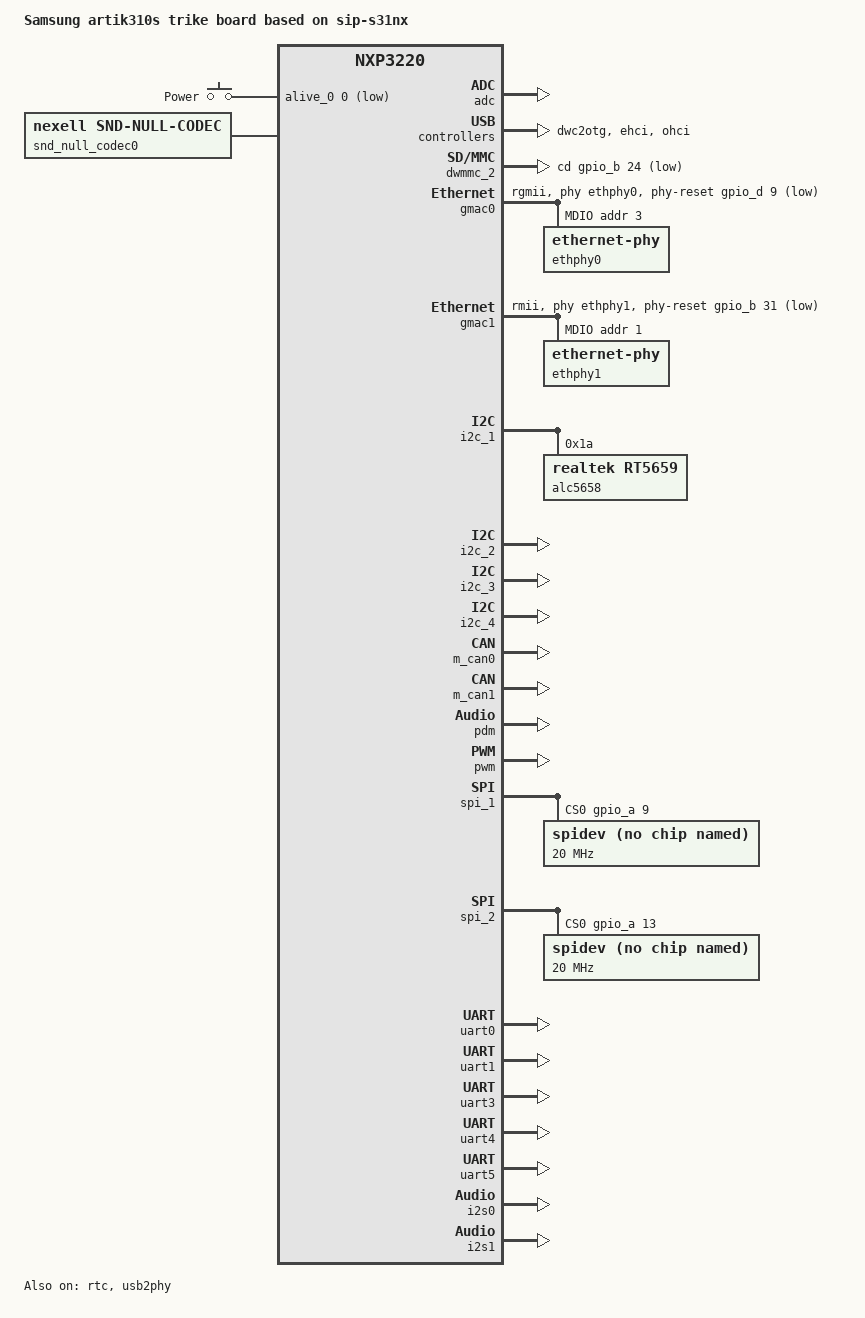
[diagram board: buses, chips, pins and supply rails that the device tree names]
// SPDX-License-Identifier: (GPL-2.0+ OR MIT)
/*
 * Copyright (C) 2018  Nexell Co., Ltd.
 * Author: JungHyun, Kim <jhkim@nexell.co.kr>
 */

#include <dt-bindings/gpio/gpio.h>
#include <dt-bindings/input/input.h>
#include "sip-s31nx-artik310s.dtsi"

/ {
	model = "Samsung artik310s trike board based on sip-s31nx";
	compatible = "samsung,artik310s-trike", "samsung,artik310s",
		   "nexell,nxp3220";

	chosen {
		stdout-path = &uart0;
	};

	gpio_keys {
		compatible = "gpio-keys";
		#address-cells = <1>;
		#size-cells = <0>;
		pinctrl-names = "default";
		pinctrl-0 = <&key_pwr>;

		power {
			label = "Power";
			gpios = <&alive_0 0 GPIO_ACTIVE_LOW>;
			linux,code = <KEY_POWER>;
			wakeup-source;
		};
	};

	/* Null codec for PDM reference i2s */
	snd_null_codec0: snd_null_codec@0 {
		#sound-dai-cells = <0>;
		compatible = "nexell,snd-null-codec";
		status = "okay";
	};

	sound0: sound@0 {
		compatible = "simple-audio-card";
		simple-audio-card,name = "Artik310 Audio Card ALC5658";
		simple-audio-card,widgets =
			"Headphone", "Out Jack",
			"Microphone", "In Jack";
		simple-audio-card,routing =
			"IN1P", "MICBIAS1",
			"IN1P", "In Jack";
		status = "okay";

		simple-audio-card,dai-link@0 {
			mclk-fs = <256>;
			format = "i2s";
			frame-master = <&sndcpu0>;
			bitclock-master = <&sndcpu0>;

			sndcpu0: cpu  {
				sound-dai = <&i2s1 0>;
			};

			sndcodec0: codec {
				sound-dai = <&alc5658 0>;
			};
		};
	};

	sound1: sound@1 {
		compatible = "simple-audio-card";
		simple-audio-card,name = "Artik310 PDM Card";
		status = "okay";

		simple-audio-card,dai-link@0 {
			mclk-fs = <256>;
			format = "i2s";
			frame-master = <&sndcodec1>;
			bitclock-master = <&sndcodec1>;

			sndcpu1: cpu {
				 sound-dai = <&i2s0 0>;
			};

			sndcodec1: codec {
				sound-dai = <&snd_null_codec0>;
			};
		};
	};

	sound-pdm {
		compatible = "nexell,nxp3220-pdm-card";
		snd-controller = <&pdm>;
	};

};

&adc {
	status = "okay";
};

&dwc2otg {
	status = "okay";
};

&dwmmc_2 {
	cap-sd-highspeed;
	cd-gpios = <&gpio_b 24 0>;
	cd-inverted;
	clock-frequency = <200000000>;
	nexell,drive_shift = <0x01>;
	nexell,sample_shift = <0x00>;
	card-detect-delay = <200>;
	disable-wp;
	status = "okay";
};

&ehci {
	status = "okay";
};

&gmac0 {
	status = "okay";

	pinctrl-names = "default";
	pinctrl-0 = <&gmac0_pins>;
	phy-mode = "rgmii";
	phy-handle = <&ethphy0>;

	phy-reset-gpios = <&gpio_d 9 GPIO_ACTIVE_LOW>;
	phy-intr-gpios = <&alive_0 5 GPIO_ACTIVE_LOW>;
	phy-pme-gpios = <&alive_0 2 GPIO_ACTIVE_LOW>;

	mdio@3 {
		#address-cells = <1>;
		#size-cells = <0>;

		ethphy0: ethernet-phy@3 {
			reg = <3>;
		};
	};
};

&gmac0_phyint {
	nexell,pins = "alive-5";
};

&gmac0_pme {
	nexell,pins = "alive-2";
};

&gmac1 {
	status = "okay";

	pinctrl-names = "default";
	pinctrl-0 = <&gmac1_pins>;
	phy-mode = "rmii";
	phy-handle = <&ethphy1>;
	phy-reset-gpios = <&gpio_b 31 GPIO_ACTIVE_LOW>;
	phy-intr-gpios = <&alive_0 7 GPIO_ACTIVE_LOW>;
	phy-pme-gpios = <&alive_0 6 GPIO_ACTIVE_LOW>;

	mdio@1 {
		#address-cells = <1>;
		#size-cells = <0>;

		ethphy1: ethernet-phy@1 {
			reg = <1>;
		};
	};
};

&i2c_1 {
	status = "okay";
	#address-cells = <1>;
	#size-cells = <0>;

	alc5658: alc5658@1a {
		#sound-dai-cells = <1>;
		compatible = "realtek,rt5659";
		reg = <0x1a>;
		realtek,dmic1-data-pin = <2>;
	};
};

&i2c_2 {
	status = "okay";
	#address-cells = <1>;
	#size-cells = <0>;
};

&i2c_3 {
	status = "okay";
	#address-cells = <1>;
	#size-cells = <0>;
};

&i2c_4 {
	status = "okay";
	#address-cells = <1>;
	#size-cells = <0>;
};

&m_can0 {
	status = "okay";
};

&m_can1 {
	status = "okay";
};

&mmc2_clk {
	nexell,pin-strength = <NX_PIN_STR1>;
};

&ohci {
	status = "okay";
};

&pdm {
	ref-iis = <0>;
	sample-rate = <16000>;
	status = "okay";
};

&pinctrl_0 {
	tsp_int: tsp-int {
		nexell,pins = "alive-6";
		nexell,pin-function = <NX_PIN_FUNC0>;
		nexell,pin-pull = <NX_PIN_PULL_UP>;
		nexell,pin-strength = <NX_PIN_STR0>;
	};

	tsp_reset: tsp-reset {
		nexell,pins = "gpioa-19";
		nexell,pin-function = <NX_PIN_FUNC0>;
		nexell,pin-pull = <NX_PIN_PULL_NONE>;
		nexell,pin-strength = <NX_PIN_STR0>;
	};

	gmac0_pins: gmac0_pins {
		gmac0_txclk: gmac-txclk {
			nexell,pin-strength = <NX_PIN_STR2>;
		};
	};
};

&pwm {
	status = "okay";
	nexell,pwm-outputs = <0>, <1>, <2>, <3>;
};

&rtc {
	status = "okay";
};

&spi_1 {
	status = "okay";
	cs-gpios = <&gpio_a 9 0>;

	spidev@0 {
		compatible = "linux,spidev";
		reg = <0>;
		spi-max-frequency = <20000000>;
	};
};

&spi_2 {
	status = "okay";
	cs-gpios = <&gpio_a 13 0>;

	spidev@0 {
		compatible = "linux,spidev";
		reg = <0>;
		spi-max-frequency = <20000000>;
	};
};

&uart0 {
	status = "okay";
};

&uart1 {
	status = "okay";
};

&uart3 {
	status = "okay";
};

&uart4 {
	status = "okay";
	pinctrl-0 = <&uart4_bus &uart4_485>;
	linux,rs485-enabled-at-boot-time;
	rs485-rts-active-low;
};

&uart5 {
	status = "okay";
	pinctrl-0 = <&uart5_bus &uart5_485>;
	linux,rs485-enabled-at-boot-time;
	rs485-rts-active-low;
};

&usb2phy {
	status = "okay";
	otg,vbus-gpio = <&gpio_c 12 0>;
	otg,vbus-tune = <1>;
	ehci,vbus-gpio = <&gpio_b 23 0>;
};

&i2s0_bus {
	nexell,pins = "gpioa-22", "gpioa-23";
	nexell,pin-pull = <NX_PIN_PULL_UP>;
};

&i2s0 {
	frame-bit = <32>;
	sample-rate = <48000>;
	status = "okay";
};

&i2s1 {
	frame-bit = <32>;
	sample-rate = <48000>;
	status = "okay";
};
